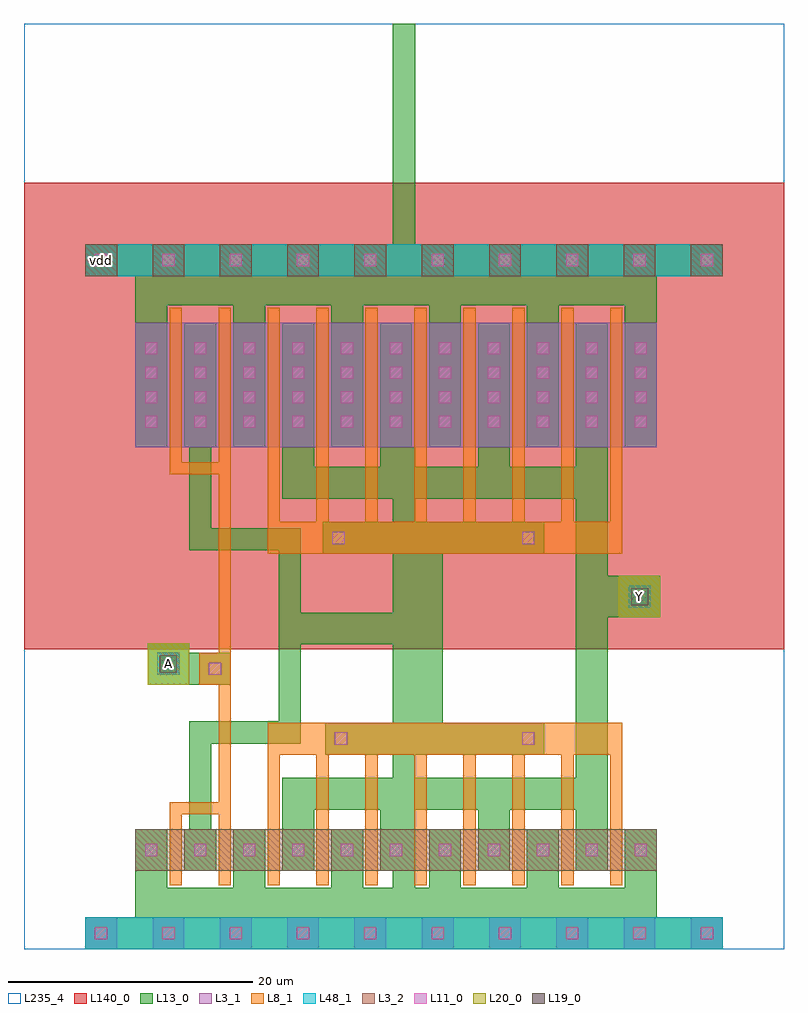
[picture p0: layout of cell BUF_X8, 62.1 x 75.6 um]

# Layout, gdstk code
import gdstk
lib = gdstk.Library(unit=1e-6, precision=1e-09)
def R(c, l, rs):  # rectangles x0, y0, x1, y1
    for r in rs: c.add(gdstk.rectangle(r[:2], r[2:], *l))
def A(c, l, x, y, w, h, nx, ny, dx, dy):  # array of equal rectangles
    R(c, l, [(x+i*dx, y+j*dy, x+i*dx+w, y+j*dy+h) for i in range(nx) for j in range(ny)])
def P(c, l, *ps):  # polygons
    for p in ps: c.add(gdstk.Polygon(p, *l))
L3_1 = (3, 1)
L3_2 = (3, 2)
L8_1 = (8, 1)
L11_0 = (11, 0)
L13_0 = (13, 0)
L19_0 = (19, 0)
L20_0 = (20, 0)
L48_1 = (48, 1)
L140_0 = (140, 0)
L235_4 = (235, 4)

buf_x8 = lib.new_cell('BUF_X8')
A(buf_x8, L3_1, 5, 0, 2.6, 2.6, 10, 1, 5.5, 0)
R(buf_x8, L3_1, [(9.1,41,51.7,51.2)])
A(buf_x8, L3_2, 5, 55, 2.6, 2.6, 10, 1, 5.5, 0)
R(buf_x8, L3_2, [(9.1,6.4,51.7,9.8)])
P(buf_x8, L8_1, [(19.9,5.2),(19.9,18.5),(48.9,18.5),(48.9,5.2),(47.9,5.2),(47.9,15.9),(44.9,15.9),(44.9,5.2),(43.9,5.2),(43.9,15.9),(40.9,15.9),(40.9,5.2),(39.9,5.2),(39.9,15.9),(36.9,15.9),(36.9,5.2),(35.9,5.2),(35.9,15.9),(32.9,15.9),(32.9,5.2),(31.9,5.2),(31.9,15.9),(28.9,15.9),(28.9,5.2),(27.9,5.2),(27.9,15.9),(24.9,15.9),(24.9,5.2),(23.9,5.2),(23.9,15.9),(20.9,15.9),(20.9,5.2)],
  [(11.9,5.2),(11.9,12),(15.9,12),(15.9,21.6),(14.3,21.6),(14.3,24.2),(15.9,24.2),(15.9,38.8),(11.9,38.8),(11.9,52.4),(12.9,52.4),(12.9,39.8),(15.9,39.8),(15.9,52.4),(16.9,52.4),(16.9,5.2),(15.9,5.2),(15.9,11),(12.9,11),(12.9,5.2)],
  [(19.9,32.3),(19.9,52.4),(20.9,52.4),(20.9,34.9),(23.9,34.9),(23.9,52.4),(24.9,52.4),(24.9,34.9),(27.9,34.9),(27.9,52.4),(28.9,52.4),(28.9,34.9),(31.9,34.9),(31.9,52.4),(32.9,52.4),(32.9,34.9),(35.9,34.9),(35.9,52.4),(36.9,52.4),(36.9,34.9),(39.9,34.9),(39.9,52.4),(40.9,52.4),(40.9,34.9),(43.9,34.9),(43.9,52.4),(44.9,52.4),(44.9,34.9),(47.9,34.9),(47.9,52.4),(48.9,52.4),(48.9,32.3)])
A(buf_x8, L11_0, 5.8, 0.8, 1, 1, 10, 2, 5.5, 55)
A(buf_x8, L11_0, 9.9, 7.6, 1, 1, 3, 2, 4, 35)
A(buf_x8, L11_0, 17.9, 7.6, 1, 1, 9, 2, 4, 35)
A(buf_x8, L11_0, 9.9, 44.6, 1, 1, 3, 3, 4, 2)
A(buf_x8, L11_0, 17.9, 44.6, 1, 1, 9, 3, 4, 2)
R(buf_x8, L11_0, [(25.4,16.7,26.4,17.7), (40.7,16.7,41.7,17.7), (15.1,22.4,16.1,23.4), (25.2,33.1,26.2,34.1), (40.7,33.1,41.7,34.1)])
P(buf_x8, L13_0, [(10.1,21.6),(10.1,25),(13.5,25),(13.5,24.2),(16.9,24.2),(16.9,21.6)],
  [(5,0),(5,2.6),(9.1,2.6),(9.1,9.8),(11.7,9.8),(11.7,5),(17.1,5),(17.1,9.8),(19.7,9.8),(19.7,5),(25.1,5),(25.1,9.8),(27.7,9.8),(27.7,5),(30.15,5),(30.15,6.4),(29.1,6.4),(29.1,11.4),(23.7,11.4),(23.7,6.4),(21.1,6.4),(21.1,14),(30.15,14),(30.15,15.9),(24.6,15.9),(24.6,18.5),(30.15,18.5),(30.15,24.9),(22.6,24.9),(22.6,16.8),(15.3,16.8),(15.3,9.8),(15.7,9.8),(15.7,6.4),(13.1,6.4),(13.1,9.8),(13.5,9.8),(13.5,18.6),(20.8,18.6),(20.8,32.6),(13.5,32.6),(13.5,41),(13.1,41),(13.1,51.2),(15.7,51.2),(15.7,41),(15.3,41),(15.3,34.4),(22.6,34.4),(22.6,27.5),(30.15,27.5),(30.15,32.3),(24.4,32.3),(24.4,34.9),(30.15,34.9),(30.15,36.8),(31.95,36.8),(31.95,34.9),(42.5,34.9),(42.5,32.3),(34.2,32.3),(34.2,18.5),(42.5,18.5),(42.5,15.9),(31.95,15.9),(31.95,14),(45.1,14),(45.1,36.8),(21.1,36.8),(21.1,51.2),(23.7,51.2),(23.7,39.4),(29.1,39.4),(29.1,51.2),(31.7,51.2),(31.7,41),(31.95,41),(31.95,39.4),(37.1,39.4),(37.1,51.2),(39.7,51.2),(39.7,39.4),(45.1,39.4),(45.1,51.2),(47.7,51.2),(47.7,30.5),(52,30.5),(52,27.1),(47.7,27.1),(47.7,6.4),(45.1,6.4),(45.1,11.4),(39.7,11.4),(39.7,6.4),(37.1,6.4),(37.1,11.4),(31.95,11.4),(31.95,5),(33.1,5),(33.1,9.8),(35.7,9.8),(35.7,5),(41.1,5),(41.1,9.8),(43.7,9.8),(43.7,5),(49.1,5),(49.1,9.8),(51.7,9.8),(51.7,2.6),(57.1,2.6),(57.1,0)],
  [(9.1,41),(9.1,55),(5,55),(5,57.6),(30.15,57.6),(30.15,75.6),(31.95,75.6),(31.95,57.6),(57.1,57.6),(57.1,55),(51.7,55),(51.7,41),(49.1,41),(49.1,52.6),(43.7,52.6),(43.7,41),(41.1,41),(41.1,52.6),(35.7,52.6),(35.7,41),(33.1,41),(33.1,52.6),(27.7,52.6),(27.7,41),(25.1,41),(25.1,52.6),(19.7,52.6),(19.7,41),(17.1,41),(17.1,52.6),(11.7,52.6),(11.7,41)])
R(buf_x8, L19_0, [(11.1,22.6,12.5,24), (49.6,28.1,51,29.5)])
R(buf_x8, L20_0, [(10.1,21.6,13.5,25), (48.6,27.1,52,30.5)])
R(buf_x8, L48_1, [(5,0,57.1,2.6), (10.9,22.4,12.7,24.2), (49.4,27.9,51.2,29.7), (5,55,57.1,57.6)])
R(buf_x8, L140_0, [(0,24.5,62.1,62.6)])
R(buf_x8, L235_4, [(0,0,62.1,75.6)])
buf_x8.add(gdstk.Label('Y', (50.3,28.8), layer=48, texttype=0))
buf_x8.add(gdstk.Label('A', (11.8,23.3), layer=48, texttype=0))
buf_x8.add(gdstk.Label('vdd', (6.3,56.3), layer=48, texttype=0))
buf_x8.add(gdstk.Label('vdd', (6.3,56.3), layer=48, texttype=0))
buf_x8.add(gdstk.Label('A', (11.8,23.3), layer=49, texttype=0))
buf_x8.add(gdstk.Label('Y', (50.3,28.8), layer=49, texttype=0))

lib.write_gds('BUF_X8.gds')
